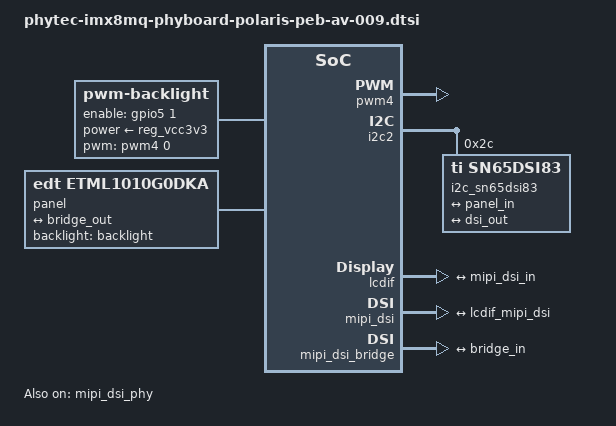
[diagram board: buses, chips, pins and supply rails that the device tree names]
/*
 * Copyright (C) 2018 PHYTEC Messtechnik GmbH
 * Author: Janine Hagemann <j.hagemann@phytec.de>
 *
 * This program is free software; you can redistribute it and/or
 * modify it under the terms of the GNU General Public License
 * as published by the Free Software Foundation; either version 2
 * of the License, or (at your option) any later version.
 *
 * This program is distributed in the hope that it will be useful,
 * but WITHOUT ANY WARRANTY; without even the implied warranty of
 * MERCHANTABILITY or FITNESS FOR A PARTICULAR PURPOSE.  See the
 * GNU General Public License for more details.
 */

/ {

	backlight: backlight {
		compatible = "pwm-backlight";
		pinctrl-names = "default";
		pinctrl-0 = <&pinctrl_lcd>;
		default-brightness-level = <6>;
		power-supply = <&reg_vcc3v3>;
		pwms = <&pwm4 0 500000>;
		enable-gpios = <&gpio5 1 GPIO_ACTIVE_HIGH>;
		brightness-levels= <0 4 8 16 32 64 128 255>;
		status = "okay";
	};

	panel: panel {
		compatible = "edt,etml1010g0dka";
		backlight = <&backlight>;

		port {
			panel_in: endpoint {
				remote-endpoint = <&bridge_out>;
			};
		};
	};

};

&pwm4 {
	status = "okay";
	pinctrl-names = "default";
	pinctrl-0 = <&pinctrl_pwm4>;
};

&i2c2 {
	i2c_sn65dsi83: sn65dsi83@2c {
		compatible = "ti,sn65dsi83";
		reg = <0x2c>;
		lanes_in = <4>;
		status = "okay";

		ports {
			#address-cells = <1>;
			#size-cells = <0>;

			port@0 {
				reg = <0>;

				bridge_out: endpoint {
					remote-endpoint = <&panel_in>;
				};
			};

			port@1 {
				reg = <1>;

				bridge_in: endpoint {
					remote-endpoint = <&dsi_out>;
				};
			};
		};
	};
};

&lcdif {
	status = "okay";
	max-res = <1920>, <1080>;

	port {

		lcdif_mipi_dsi: mipi-dsi-endpoint {
			remote-endpoint = <&mipi_dsi_in>;
		};
	};
};

&mipi_dsi_phy {
	status = "okay";
};

&mipi_dsi {
	status = "okay";
	as_bridge;
	sync-pol = <1>;
	pwr-delay = <10>;

	port@1 {
		mipi_dsi_in: endpoint {
			remote-endpoint = <&lcdif_mipi_dsi>;
		};
	};
};

&mipi_dsi_bridge {
	status = "okay";

	port@1 {
		dsi_out: endpoint {
			remote-endpoint = <&bridge_in>;
		};
	};
};

&iomuxc {
	peb-av-009 {
		pinctrl_pwm4: pwm4grp {
			fsl,pins = <
				MX8MQ_IOMUXC_SAI3_MCLK_PWM4_OUT			0x16
			>;
		};

		pinctrl_lcd: lcd0grp {
			fsl,pins = <
				MX8MQ_IOMUXC_SAI3_TXD_GPIO5_IO1                 0x16
			>;
		};
	};
};
